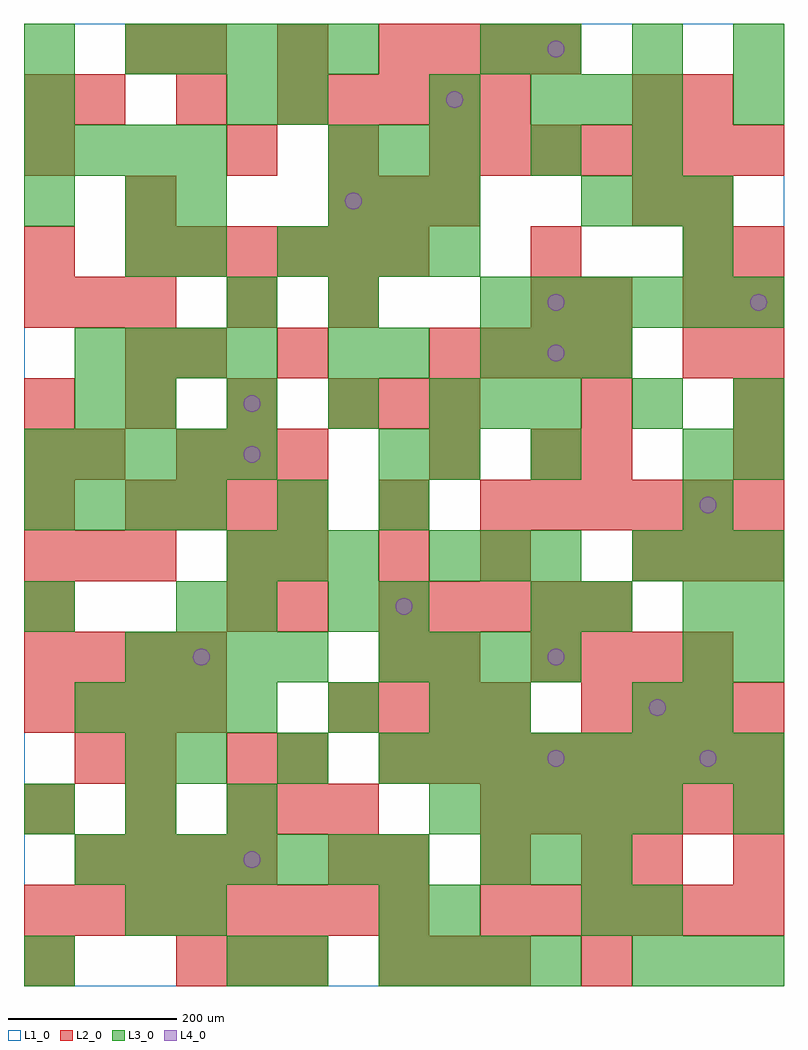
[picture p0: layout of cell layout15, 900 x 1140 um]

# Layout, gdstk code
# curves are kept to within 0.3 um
import gdstk
lib = gdstk.Library(unit=1e-6, precision=1e-09)
def R(c, l, rs):  # rectangles x0, y0, x1, y1
    for r in rs: c.add(gdstk.rectangle(r[:2], r[2:], *l))
def A(c, l, x, y, w, h, nx, ny, dx, dy):  # array of equal rectangles
    R(c, l, [(x+i*dx, y+j*dy, x+i*dx+w, y+j*dy+h) for i in range(nx) for j in range(ny)])
def P(c, l, *ps):  # polygons
    for p in ps: c.add(gdstk.Polygon(p, *l))
L1_0 = (1, 0)
L2_0 = (2, 0)
L3_0 = (3, 0)
L4_0 = (4, 0)

layout15 = lib.new_cell('layout15')
R(layout15, L1_0, [(0,0,900,1140)])
A(layout15, L2_0, 180, 0, 60, 60, 3, 2, 60, 600)
A(layout15, L2_0, 420, 0, 60, 60, 3, 1, 60, 0)
A(layout15, L2_0, 0, 60, 60, 60, 8, 1, 60, 0)
A(layout15, L2_0, 540, 60, 60, 60, 6, 2, 60, 120)
A(layout15, L2_0, 60, 120, 60, 60, 4, 1, 60, 0)
A(layout15, L2_0, 420, 120, 60, 60, 3, 1, 120, 0)
A(layout15, L2_0, 0, 180, 60, 60, 3, 1, 120, 0)
A(layout15, L2_0, 420, 240, 60, 60, 8, 1, 60, 0)
A(layout15, L2_0, 0, 300, 60, 60, 4, 2, 60, 60)
A(layout15, L2_0, 360, 300, 60, 60, 4, 2, 60, 720)
A(layout15, L2_0, 660, 300, 60, 60, 4, 1, 60, 0)
A(layout15, L2_0, 600, 360, 60, 60, 4, 1, 60, 0)
A(layout15, L2_0, 420, 420, 60, 60, 5, 1, 60, 0)
A(layout15, L2_0, 0, 480, 60, 60, 3, 2, 60, 300)
A(layout15, L2_0, 300, 480, 60, 60, 3, 1, 120, 0)
A(layout15, L2_0, 720, 480, 60, 60, 3, 1, 60, 0)
A(layout15, L2_0, 120, 540, 60, 60, 4, 1, 60, 0)
A(layout15, L2_0, 540, 540, 60, 60, 6, 2, 60, 420)
A(layout15, L2_0, 0, 660, 60, 60, 4, 1, 120, 0)
A(layout15, L2_0, 480, 660, 60, 60, 3, 1, 180, 0)
A(layout15, L2_0, 120, 720, 60, 60, 1, 3, 0, 180)
A(layout15, L2_0, 480, 720, 60, 60, 4, 1, 60, 0)
A(layout15, L2_0, 780, 720, 60, 60, 1, 4, 0, 60)
A(layout15, L2_0, 840, 720, 60, 60, 1, 3, 0, 60)
A(layout15, L2_0, 120, 840, 60, 60, 6, 1, 60, 0)
A(layout15, L2_0, 360, 900, 60, 60, 3, 1, 60, 0)
A(layout15, L2_0, 240, 960, 60, 60, 3, 1, 120, 0)
A(layout15, L2_0, 60, 1020, 60, 60, 3, 1, 120, 0)
A(layout15, L2_0, 180, 1080, 60, 60, 3, 1, 120, 0)
A(layout15, L2_0, 480, 1080, 60, 60, 3, 1, 60, 0)
R(layout15, L2_0, [(0,0,60,60), (660,0,720,60), (360,120,420,180), (720,120,780,180), (840,120,900,180), (300,180,360,240), (360,180,420,240), (60,240,120,300), (120,240,180,300), (240,240,300,300), (300,240,360,300), (420,360,480,420), (480,360,540,420), (0,420,60,480), (240,420,300,480), (300,420,360,480), (240,480,300,540), (0,540,60,600), (420,540,480,600), (0,600,60,660), (60,600,120,660), (480,600,540,660), (600,600,660,660), (660,600,720,660), (840,600,900,660), (420,660,480,720), (180,720,240,780), (300,720,360,780), (240,780,300,840), (360,780,420,840), (600,780,660,840), (660,780,720,840), (0,840,60,900), (600,840,660,900), (720,900,780,960), (0,960,60,1020), (0,1020,60,1080), (720,1020,780,1080), (780,1020,840,1080)])
A(layout15, L3_0, 420, 0, 60, 60, 4, 2, 60, 360)
A(layout15, L3_0, 720, 0, 60, 60, 3, 2, 60, 480)
A(layout15, L3_0, 60, 120, 60, 60, 7, 1, 60, 0)
A(layout15, L3_0, 540, 120, 60, 60, 3, 2, 60, 600)
A(layout15, L3_0, 0, 180, 60, 60, 3, 1, 120, 0)
A(layout15, L3_0, 480, 180, 60, 60, 5, 1, 60, 0)
A(layout15, L3_0, 180, 240, 60, 60, 3, 1, 120, 0)
A(layout15, L3_0, 480, 240, 60, 60, 7, 1, 60, 0)
A(layout15, L3_0, 60, 300, 60, 60, 4, 2, 60, 420)
A(layout15, L3_0, 780, 300, 60, 60, 1, 3, 0, 60)
A(layout15, L3_0, 120, 360, 60, 60, 4, 1, 60, 0)
A(layout15, L3_0, 240, 480, 60, 60, 3, 1, 60, 0)
A(layout15, L3_0, 480, 480, 60, 60, 3, 1, 60, 0)
A(layout15, L3_0, 0, 540, 60, 60, 4, 2, 60, 420)
A(layout15, L3_0, 0, 600, 60, 60, 5, 1, 60, 0)
A(layout15, L3_0, 120, 660, 60, 60, 4, 1, 120, 0)
A(layout15, L3_0, 600, 660, 60, 60, 3, 2, 120, 420)
A(layout15, L3_0, 540, 780, 60, 60, 6, 1, 60, 0)
A(layout15, L3_0, 300, 840, 60, 60, 4, 1, 60, 0)
A(layout15, L3_0, 360, 900, 60, 60, 3, 2, 60, 60)
A(layout15, L3_0, 660, 900, 60, 60, 3, 1, 60, 0)
A(layout15, L3_0, 600, 1020, 60, 60, 3, 1, 60, 0)
A(layout15, L3_0, 120, 1080, 60, 60, 5, 1, 60, 0)
R(layout15, L3_0, [(0,0,60,60), (240,0,300,60), (300,0,360,60), (120,60,180,120), (180,60,240,120), (420,60,480,120), (480,60,540,120), (660,60,720,120), (720,60,780,120), (840,180,900,240), (120,240,180,300), (360,300,420,360), (480,300,540,360), (540,300,600,360), (720,300,780,360), (840,360,900,420), (0,420,60,480), (180,420,240,480), (240,420,300,480), (360,420,420,480), (420,420,480,480), (600,420,660,480), (660,420,720,480), (840,420,900,480), (300,540,360,600), (420,540,480,600), (780,540,840,600), (420,600,480,660), (480,600,540,660), (600,600,660,660), (780,600,840,660), (840,600,900,660), (60,660,120,720), (540,660,600,720), (360,720,420,780), (420,720,480,780), (240,780,300,840), (360,780,420,840), (120,840,180,900), (180,840,240,900), (780,840,840,900), (0,900,60,960), (120,900,180,960), (180,900,240,960), (600,960,660,1020), (720,960,780,1020), (0,1020,60,1080), (240,1020,300,1080), (300,1020,360,1080), (480,1020,540,1080), (840,1020,900,1080), (0,1080,60,1140), (540,1080,600,1140)])
P(layout15, L4_0, [(220,390),(219.239,393.827),(217.071,397.071),(213.827,399.239),(210,400),(206.173,399.239),(202.929,397.071),(200.761,393.827),(200,390),(200.761,386.173),(202.929,382.929),(206.173,380.761),(210,380),(213.827,380.761),(217.071,382.929),(219.239,386.173)],
  [(280,150),(279.239,153.827),(277.071,157.071),(273.827,159.239),(270,160),(266.173,159.239),(262.929,157.071),(260.761,153.827),(260,150),(260.761,146.173),(262.929,142.929),(266.173,140.761),(270,140),(273.827,140.761),(277.071,142.929),(279.239,146.173)],
  [(280,630),(279.239,633.827),(277.071,637.071),(273.827,639.239),(270,640),(266.173,639.239),(262.929,637.071),(260.761,633.827),(260,630),(260.761,626.173),(262.929,622.929),(266.173,620.761),(270,620),(273.827,620.761),(277.071,622.929),(279.239,626.173)],
  [(280,690),(279.239,693.827),(277.071,697.071),(273.827,699.239),(270,700),(266.173,699.239),(262.929,697.071),(260.761,693.827),(260,690),(260.761,686.173),(262.929,682.929),(266.173,680.761),(270,680),(273.827,680.761),(277.071,682.929),(279.239,686.173)],
  [(400,930),(399.239,933.827),(397.071,937.071),(393.827,939.239),(390,940),(386.173,939.239),(382.929,937.071),(380.761,933.827),(380,930),(380.761,926.173),(382.929,922.929),(386.173,920.761),(390,920),(393.827,920.761),(397.071,922.929),(399.239,926.173)],
  [(460,450),(459.239,453.827),(457.071,457.071),(453.827,459.239),(450,460),(446.173,459.239),(442.929,457.071),(440.761,453.827),(440,450),(440.761,446.173),(442.929,442.929),(446.173,440.761),(450,440),(453.827,440.761),(457.071,442.929),(459.239,446.173)],
  [(520,1050),(519.239,1053.827),(517.071,1057.071),(513.827,1059.239),(510,1060),(506.173,1059.239),(502.929,1057.071),(500.761,1053.827),(500,1050),(500.761,1046.173),(502.929,1042.929),(506.173,1040.761),(510,1040),(513.827,1040.761),(517.071,1042.929),(519.239,1046.173)],
  [(640,270),(639.239,273.827),(637.071,277.071),(633.827,279.239),(630,280),(626.173,279.239),(622.929,277.071),(620.761,273.827),(620,270),(620.761,266.173),(622.929,262.929),(626.173,260.761),(630,260),(633.827,260.761),(637.071,262.929),(639.239,266.173)],
  [(640,390),(639.239,393.827),(637.071,397.071),(633.827,399.239),(630,400),(626.173,399.239),(622.929,397.071),(620.761,393.827),(620,390),(620.761,386.173),(622.929,382.929),(626.173,380.761),(630,380),(633.827,380.761),(637.071,382.929),(639.239,386.173)],
  [(640,750),(639.239,753.827),(637.071,757.071),(633.827,759.239),(630,760),(626.173,759.239),(622.929,757.071),(620.761,753.827),(620,750),(620.761,746.173),(622.929,742.929),(626.173,740.761),(630,740),(633.827,740.761),(637.071,742.929),(639.239,746.173)],
  [(640,810),(639.239,813.827),(637.071,817.071),(633.827,819.239),(630,820),(626.173,819.239),(622.929,817.071),(620.761,813.827),(620,810),(620.761,806.173),(622.929,802.929),(626.173,800.761),(630,800),(633.827,800.761),(637.071,802.929),(639.239,806.173)],
  [(640,1110),(639.239,1113.827),(637.071,1117.071),(633.827,1119.239),(630,1120),(626.173,1119.239),(622.929,1117.071),(620.761,1113.827),(620,1110),(620.761,1106.173),(622.929,1102.929),(626.173,1100.761),(630,1100),(633.827,1100.761),(637.071,1102.929),(639.239,1106.173)],
  [(760,330),(759.239,333.827),(757.071,337.071),(753.827,339.239),(750,340),(746.173,339.239),(742.929,337.071),(740.761,333.827),(740,330),(740.761,326.173),(742.929,322.929),(746.173,320.761),(750,320),(753.827,320.761),(757.071,322.929),(759.239,326.173)],
  [(820,270),(819.239,273.827),(817.071,277.071),(813.827,279.239),(810,280),(806.173,279.239),(802.929,277.071),(800.761,273.827),(800,270),(800.761,266.173),(802.929,262.929),(806.173,260.761),(810,260),(813.827,260.761),(817.071,262.929),(819.239,266.173)],
  [(820,570),(819.239,573.827),(817.071,577.071),(813.827,579.239),(810,580),(806.173,579.239),(802.929,577.071),(800.761,573.827),(800,570),(800.761,566.173),(802.929,562.929),(806.173,560.761),(810,560),(813.827,560.761),(817.071,562.929),(819.239,566.173)],
  [(880,810),(879.239,813.827),(877.071,817.071),(873.827,819.239),(870,820),(866.173,819.239),(862.929,817.071),(860.761,813.827),(860,810),(860.761,806.173),(862.929,802.929),(866.173,800.761),(870,800),(873.827,800.761),(877.071,802.929),(879.239,806.173)])

lib.write_gds('layout15.gds')
